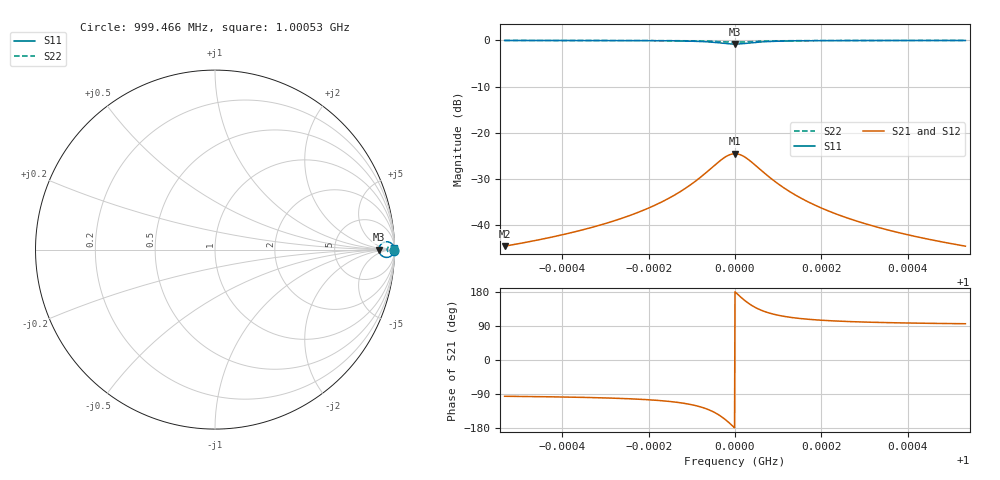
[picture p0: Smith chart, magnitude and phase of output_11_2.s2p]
! File generated for n1 = 11, n2 = 2
! b1 = 0.046416
! b2 = 0.021544
! Q0 = 10000.000000
! f0 = 1000000000.000000
! n = 1001
! rel_span = 10.000000
# Hz S RI R 50
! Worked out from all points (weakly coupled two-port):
!   1001 points, 999.466 MHz to 1.00053 GHz, reference 50 ohm
!   highest |S21| = -24.55 dB at 1 GHz (marker M1); lowest = -44.6 dB at 999.466 MHz (marker M2)
!   lowest |S11| = -0.8 dB at 1 GHz (marker M3), VSWR 22.01, Z = 1.1e+03 + j0 ohm
!   |S11| at or under -10 dB: nowhere
!   |S22| runs from -0.4 to 0.0 dB; largest |S21 - S12| = 0
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9.99466e8  0.9991 -0.0086  -0.000586 -0.00586  -0.000586 -0.00586  0.9996 -0.00399
9.995579e8  0.9988 -0.0103  -0.000851 -0.00705  -0.000851 -0.00705  0.9994 -0.0048
9.996444e8  0.9981 -0.0128  -0.00131 -0.00869  -0.00131 -0.00869  0.9991 -0.00592
9.997426e8  0.9964 -0.0173  -0.00244 -0.0118  -0.00244 -0.0118  0.9983 -0.00802
9.998227e8  0.9928 -0.024  -0.00493 -0.0164  -0.00493 -0.0164  0.9966 -0.0111
9.99858e8  0.9892 -0.0286  -0.00733 -0.0195  -0.00733 -0.0195  0.995 -0.0133
9.9989e8  0.9834 -0.0341  -0.0113 -0.0233  -0.0113 -0.0233  0.9923 -0.0159
9.999188e8  0.9737 -0.0399  -0.0179 -0.0272  -0.0179 -0.0272  0.9878 -0.0185
9.999541e8  0.95 -0.043  -0.034 -0.0293  -0.034 -0.0293  0.9768 -0.0199
9.999808e8  0.923 -0.0277  -0.0524 -0.0189  -0.0524 -0.0189  0.9643 -0.0129
1e9  0.9131 0  -0.0592 0  -0.0592 0  0.9597 0
1.00001e9  0.9158 0.0152  -0.0574 0.0103  -0.0574 0.0103  0.9609 0.00703
1.00002e9  0.924 0.0289  -0.0517 0.0197  -0.0517 0.0197  0.9647 0.0134
1.000047e9  0.951 0.0431  -0.0334 0.0294  -0.0334 0.0294  0.9773 0.02
1.000082e9  0.9742 0.0397  -0.0176 0.027  -0.0176 0.027  0.988 0.0184
1.000111e9  0.9837 0.0339  -0.0111 0.0231  -0.0111 0.0231  0.9924 0.0158
1.000143e9  0.9894 0.0285  -0.00724 0.0194  -0.00724 0.0194  0.9951 0.0132
1.000178e9  0.9928 0.0239  -0.00487 0.0163  -0.00487 0.0163  0.9967 0.0111
1.000258e9  0.9964 0.0172  -0.00243 0.0117  -0.00243 0.0117  0.9983 0.008
1.000357e9  0.9981 0.0127  -0.0013 0.00867  -0.0013 0.00867  0.9991 0.00591
1.000443e9  0.9988 0.0103  -0.000848 0.00703  -0.000848 0.00703  0.9994 0.00479
1.000534e9  0.9991 0.00861  -0.000587 0.00586  -0.000587 0.00586  0.9996 0.004
